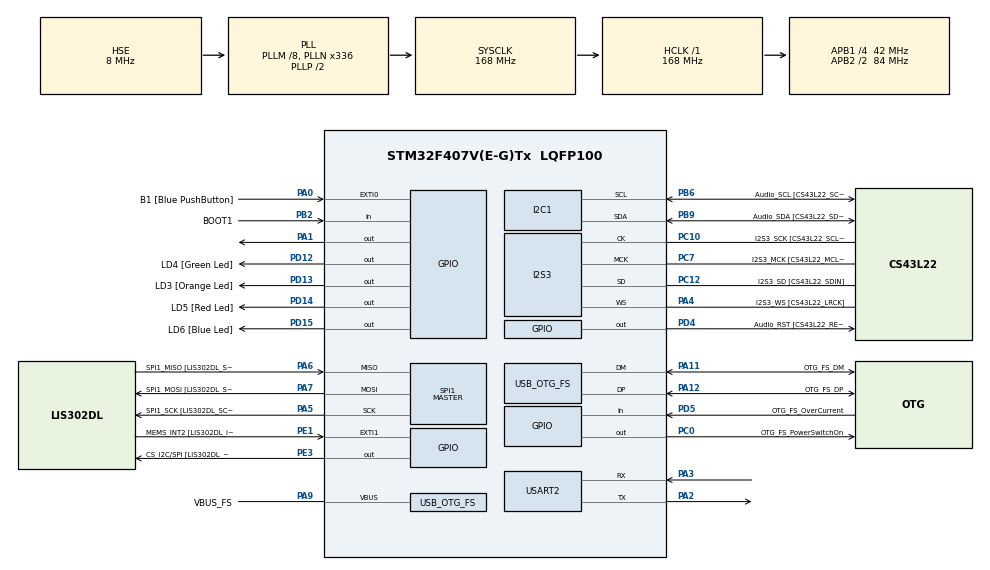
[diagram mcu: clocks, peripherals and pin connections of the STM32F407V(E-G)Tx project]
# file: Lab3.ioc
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I2S3.AudioFreq-Half_Duplex_Master=I2S_AUDIOFREQ_96K
I2S3.ErrorAudioFreq=-2.34 %
I2S3.ErrorAudioFreq-Half_Duplex_Master=0.8 %
I2S3.FullDuplexMode=I2S_FULLDUPLEXMODE_DISABLE
I2S3.Instance=SPI$Index
I2S3.RealAudioFreq=93.75 KHz
I2S3.RealAudioFreq-Half_Duplex_Master=96.774 KHz
I2S3.VirtualMode=I2S_MODE_MASTER
Mcu.Family=STM32F4
Mcu.Name=STM32F407V(E-G)Tx
Mcu.Package=LQFP100
NVIC.EXTI0_IRQn=true\:0\:0\:false\:true\:true\:1\:true
NVIC.OTG_FS_IRQn=true\:0\:0\:false\:false\:false\:true
NVIC.PriorityGroup=NVIC_PRIORITYGROUP_0
NVIC.TIM1_TRG_COM_TIM11_IRQn=true\:0\:0\:false\:true\:true\:3\:true
NVIC.TIM1_UP_TIM10_IRQn=true\:0\:0\:false\:true\:true\:2\:true
NVIC.TIM8_TRG_COM_TIM14_IRQn=true\:0\:0\:false\:true\:true\:5\:true
NVIC.TIM8_UP_TIM13_IRQn=true\:0\:0\:false\:true\:true\:4\:true
PA0-WKUP.GPIO_Label=B1 [Blue PushButton]
PA0-WKUP.GPIO_ModeDefaultEXTI=GPIO_MODE_IT_FALLING
PA0-WKUP.GPIO_PuPd=GPIO_NOPULL
PA0-WKUP.Signal=GPXTI0
PA1.Signal=GPIO_Output
PA10.GPIO_Label=OTG_FS_ID
PA10.GPIO_Mode=GPIO_MODE_AF_PP
PA10.GPIO_PuPd=GPIO_NOPULL
PA10.GPIO_Speed=GPIO_SPEED_FREQ_LOW
PA10.Signal=USB_OTG_FS_ID
PA11.GPIO_Label=OTG_FS_DM
PA11.GPIO_Mode=GPIO_MODE_AF_PP
PA11.GPIO_PuPd=GPIO_NOPULL
PA11.GPIO_Speed=GPIO_SPEED_FREQ_LOW
PA11.Mode=Host_Only
PA11.Signal=USB_OTG_FS_DM
PA12.GPIO_Label=OTG_FS_DP
PA12.GPIO_Mode=GPIO_MODE_AF_PP
PA12.GPIO_PuPd=GPIO_NOPULL
PA12.GPIO_Speed=GPIO_SPEED_FREQ_LOW
PA12.Mode=Host_Only
PA12.Signal=USB_OTG_FS_DP
PA13.GPIO_Label=SWDIO
PA13.Mode=Serial_Wire
PA13.Signal=SYS_JTMS-SWDIO
PA14.GPIO_Label=SWCLK
PA14.Mode=Serial_Wire
PA14.Signal=SYS_JTCK-SWCLK
PA2.Mode=Asynchronous
PA2.Signal=USART2_TX
PA3.Mode=Asynchronous
PA3.Signal=USART2_RX
PA4.GPIO_Label=I2S3_WS [CS43L22_LRCK]
PA4.GPIO_Mode=GPIO_MODE_AF_PP
PA4.GPIO_PuPd=GPIO_NOPULL
PA4.GPIO_Speed=GPIO_SPEED_FREQ_LOW
PA4.Mode=Half_Duplex_Master
PA4.Signal=I2S3_WS
PA5.GPIO_Label=SPI1_SCK [LIS302DL_SCL/SPC]
PA5.GPIO_Mode=GPIO_MODE_AF_PP
PA5.GPIO_PuPd=GPIO_NOPULL
PA5.GPIO_Speed=GPIO_SPEED_FREQ_LOW
PA5.Mode=Full_Duplex_Master
PA5.Signal=SPI1_SCK
PA6.GPIO_Label=SPI1_MISO [LIS302DL_SDO]
PA6.GPIO_Mode=GPIO_MODE_AF_PP
PA6.GPIO_PuPd=GPIO_NOPULL
PA6.GPIO_Speed=GPIO_SPEED_FREQ_LOW
PA6.Mode=Full_Duplex_Master
PA6.Signal=SPI1_MISO
PA7.GPIO_Label=SPI1_MOSI [LIS302DL_SDA/SDI/SDO]
PA7.GPIO_Mode=GPIO_MODE_AF_PP
PA7.GPIO_PuPd=GPIO_NOPULL
PA7.GPIO_Speed=GPIO_SPEED_FREQ_LOW
PA7.Mode=Full_Duplex_Master
PA7.Signal=SPI1_MOSI
PA9.GPIO_Label=VBUS_FS
PA9.GPIO_Mode=GPIO_MODE_INPUT
PA9.GPIO_PuPd=GPIO_NOPULL
PA9.Mode=Activate_VBUS
PA9.Signal=USB_OTG_FS_VBUS
PB10.GPIO_Label=CLK_IN [MP45DT02_CLK]
PB10.GPIO_Mode=GPIO_MODE_AF_PP
PB10.GPIO_PuPd=GPIO_NOPULL
PB10.GPIO_Speed=GPIO_SPEED_FREQ_LOW
PB10.Signal=I2S2_CK
PB2.GPIO_Label=BOOT1
PB2.GPIO_Mode=GPIO_MODE_INPUT
PB2.GPIO_PuPd=GPIO_NOPULL
PB2.Signal=GPIO_Input
PB3.GPIO_Label=SWO
PB3.Signal=SYS_JTDO-SWO
PB6.GPIO_Label=Audio_SCL [CS43L22_SCL]
PB6.GPIO_Mode=GPIO_MODE_AF_OD
PB6.GPIO_PuPd=GPIO_NOPULL
PB6.GPIO_Speed=GPIO_SPEED_FREQ_LOW
PB6.Mode=I2C
PB6.Signal=I2C1_SCL
PB9.GPIO_Label=Audio_SDA [CS43L22_SDA]
PB9.GPIO_Mode=GPIO_MODE_AF_OD
PB9.GPIO_PuPd=GPIO_NOPULL
PB9.GPIO_Speed=GPIO_SPEED_FREQ_LOW
PB9.Mode=I2C
PB9.Signal=I2C1_SDA
PC0.GPIO_Label=OTG_FS_PowerSwitchOn
PC0.GPIO_PuPd=GPIO_NOPULL
PC0.GPIO_Speed=GPIO_SPEED_FREQ_LOW
PC0.PinState=GPIO_PIN_SET
PC0.Signal=GPIO_Output
PC10.GPIO_Label=I2S3_SCK [CS43L22_SCLK]
PC10.GPIO_Mode=GPIO_MODE_AF_PP
PC10.GPIO_PuPd=GPIO_NOPULL
PC10.GPIO_Speed=GPIO_SPEED_FREQ_LOW
PC10.Mode=Half_Duplex_Master
PC10.Signal=I2S3_CK
PC12.GPIO_Label=I2S3_SD [CS43L22_SDIN]
PC12.GPIO_Mode=GPIO_MODE_AF_PP
PC12.GPIO_PuPd=GPIO_NOPULL
PC12.GPIO_Speed=GPIO_SPEED_FREQ_LOW
PC12.Mode=Half_Duplex_Master
PC12.Signal=I2S3_SD
PC14-OSC32_IN.GPIO_Label=PC14-OSC32_IN
PC14-OSC32_IN.Mode=LSE-External-Oscillator
PC14-OSC32_IN.Signal=RCC_OSC32_IN
PC15-OSC32_OUT.GPIO_Label=PC15-OSC32_OUT
PC15-OSC32_OUT.Mode=LSE-External-Oscillator
PC15-OSC32_OUT.Signal=RCC_OSC32_OUT
PC3.GPIO_Label=PDM_OUT [MP45DT02_DOUT]
PC3.GPIO_Mode=GPIO_MODE_AF_PP
PC3.GPIO_PuPd=GPIO_NOPULL
PC3.GPIO_Speed=GPIO_SPEED_FREQ_LOW
PC3.Signal=I2S2_SD
PC7.GPIO_Label=I2S3_MCK [CS43L22_MCLK]
PC7.GPIO_Mode=GPIO_MODE_AF_PP
PC7.GPIO_PuPd=GPIO_NOPULL
PC7.GPIO_Speed=GPIO_SPEED_FREQ_LOW
PC7.Mode=Master_Clock_Activated
PC7.Signal=I2S3_MCK
PD12.GPIO_Label=LD4 [Green Led]
PD12.GPIO_PuPd=GPIO_NOPULL
PD12.GPIO_Speed=GPIO_SPEED_FREQ_LOW
PD12.Signal=GPIO_Output
PD13.GPIO_Label=LD3 [Orange Led]
PD13.GPIO_PuPd=GPIO_NOPULL
PD13.GPIO_Speed=GPIO_SPEED_FREQ_LOW
PD13.Signal=GPIO_Output
PD14.GPIO_Label=LD5 [Red Led]
PD14.GPIO_PuPd=GPIO_NOPULL
PD14.GPIO_Speed=GPIO_SPEED_FREQ_LOW
PD14.Signal=GPIO_Output
PD15.GPIO_Label=LD6 [Blue Led]
PD15.GPIO_PuPd=GPIO_NOPULL
PD15.GPIO_Speed=GPIO_SPEED_FREQ_LOW
PD15.Signal=GPIO_Output
PD4.GPIO_Label=Audio_RST [CS43L22_RESET]
PD4.GPIO_PuPd=GPIO_NOPULL
PD4.GPIO_Speed=GPIO_SPEED_FREQ_LOW
PD4.Signal=GPIO_Output
PD5.GPIO_Label=OTG_FS_OverCurrent
PD5.GPIO_Mode=GPIO_MODE_INPUT
PD5.GPIO_PuPd=GPIO_NOPULL
PD5.Signal=GPIO_Input
PE1.GPIO_Label=MEMS_INT2 [LIS302DL_INT2]
PE1.GPIO_ModeDefaultEXTI=GPIO_MODE_EVT_RISING
PE1.GPIO_PuPd=GPIO_NOPULL
PE1.Signal=GPXTI1
PE3.GPIO_Label=CS_I2C/SPI [LIS302DL_CS_I2C/SPI]
PE3.GPIO_PuPd=GPIO_NOPULL
PE3.GPIO_Speed=GPIO_SPEED_FREQ_LOW
PE3.Signal=GPIO_Output
PH0-OSC_IN.GPIO_Label=PH0-OSC_IN
PH0-OSC_IN.Mode=HSE-External-Oscillator
PH0-OSC_IN.Signal=RCC_OSC_IN
PH1-OSC_OUT.GPIO_Label=PH1-OSC_OUT
PH1-OSC_OUT.Mode=HSE-External-Oscillator
PH1-OSC_OUT.Signal=RCC_OSC_OUT
ProjectManager.HeapSize=0x200
ProjectManager.StackSize=0x400
ProjectManager.TargetToolchain=MDK-ARM V5
RCC.48MHZClocksFreq_Value=48000000
RCC.AHBFreq_Value=168000000
RCC.APB1CLKDivider=RCC_HCLK_DIV4
RCC.APB1Freq_Value=42000000
RCC.APB1TimFreq_Value=84000000
RCC.APB2CLKDivider=RCC_HCLK_DIV2
RCC.APB2Freq_Value=84000000
RCC.APB2TimFreq_Value=168000000
RCC.CortexFreq_Value=168000000
RCC.HCLKFreq_Value=168000000
RCC.HSE_VALUE=8000000
RCC.HSI_VALUE=16000000
RCC.PLLM=8
RCC.PLLN=336
RCC.PLLQ=7
RCC.SYSCLKFreq_VALUE=168000000
RCC.SYSCLKSource=RCC_SYSCLKSOURCE_PLLCLK
RCC.VCOOutputFreq_Value=336000000
SPI1.BaudRatePrescaler-Full_Duplex_Master=SPI_BAUDRATEPRESCALER_2
SPI1.CalculateBaudRate-Full_Duplex_Master=42.0 MBits/s
SPI1.Direction=SPI_DIRECTION_2LINES
SPI1.Mode=SPI_MODE_MASTER
SPI1.Mode-Full_Duplex_Master=SPI_MODE_MASTER
SPI1.VirtualType=VM_MASTER
TIM10.Period=2500
TIM10.Prescaler=16799
TIM11.Period=9810
TIM11.Prescaler=4199
TIM13.Period=50
TIM13.Prescaler=83
TIM14.Period=9999
TIM14.Prescaler=8399
USART2.VirtualMode=VM_ASYNC
USB_HOST.BSP.number=1
USB_HOST.USBH_HandleTypeDef-CDC_FS=hUsbHostFS
USB_HOST.VirtualModeFS=Cdc
USB_HOST0.BSP.STBoard=false
USB_HOST0.BSP.api=Unknown
USB_HOST0.BSP.i2caddr=0
USB_HOST0.BSP.i2creg=0
USB_HOST0.BSP.instance=PC0
USB_HOST0.BSP.ip=GPIO
USB_HOST0.BSP.mode=Output
USB_HOST0.BSP.name=Drive_VBUS_FS
USB_HOST0.BSP.solution=PC0
USB_OTG_FS.VirtualMode=Host_Only
USB_OTG_FS.phy_itface=HCD_PHY_EMBEDDED
VP_TIM10_VS_ClockSourceINT.Mode=Enable_Timer
VP_TIM11_VS_ClockSourceINT.Mode=Enable_Timer
VP_TIM13_VS_ClockSourceINT.Mode=Enable_Timer
VP_TIM14_VS_ClockSourceINT.Mode=Enable_Timer
VP_USB_HOST_VS_USB_HOST_CDC_FS.Mode=CDC_FS
board=STM32F4DISCOVERY

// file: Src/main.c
/**
  ******************************************************************************
  * @file           : main.c
  * @brief          : Main program body
  ******************************************************************************
  * This notice applies to any and all portions of this file
  * that are not between comment pairs USER CODE BEGIN and
  * USER CODE END. Other portions of this file, whether
  * inserted by the user or by software development tools
  * are owned by their respective copyright owners.
  *
  * Copyright (c) 2018 STMicroelectronics International N.V.
  * All rights reserved.
  *
  * Redistribution and use in source and binary forms, with or without
  * modification, are permitted, provided that the following conditions are met:
  *
  * 1. Redistribution of source code must retain the above copyright notice,
  *    this list of conditions and the following disclaimer.
  * 2. Redistributions in binary form must reproduce the above copyright notice,
  *    this list of conditions and the following disclaimer in the documentation
  *    and/or other materials provided with the distribution.
  * 3. Neither the name of STMicroelectronics nor the names of other
  *    contributors to this software may be used to endorse or promote products
  *    derived from this software without specific written permission.
  * 4. This software, including modifications and/or derivative works of this
  *    software, must execute solely and exclusively on microcontroller or
  *    microprocessor devices manufactured by or for STMicroelectronics.
  * 5. Redistribution and use of this software other than as permitted under
  *    this license is void and will automatically terminate your rights under
  *    this license.
  *
  * THIS SOFTWARE IS PROVIDED BY STMICROELECTRONICS AND CONTRIBUTORS "AS IS"
  * AND ANY EXPRESS, IMPLIED OR STATUTORY WARRANTIES, INCLUDING, BUT NOT
  * LIMITED TO, THE IMPLIED WARRANTIES OF MERCHANTABILITY, FITNESS FOR A
  * PARTICULAR PURPOSE AND NON-INFRINGEMENT OF THIRD PARTY INTELLECTUAL PROPERTY
  * RIGHTS ARE DISCLAIMED TO THE FULLEST EXTENT PERMITTED BY LAW. IN NO EVENT
  * SHALL STMICROELECTRONICS OR CONTRIBUTORS BE LIABLE FOR ANY DIRECT, INDIRECT,
  * INCIDENTAL, SPECIAL, EXEMPLARY, OR CONSEQUENTIAL DAMAGES (INCLUDING, BUT NOT
  * LIMITED TO, PROCUREMENT OF SUBSTITUTE GOODS OR SERVICES; LOSS OF USE, DATA,
  * OR PROFITS; OR BUSINESS INTERRUPTION) HOWEVER CAUSED AND ON ANY THEORY OF
  * LIABILITY, WHETHER IN CONTRACT, STRICT LIABILITY, OR TORT (INCLUDING
  * NEGLIGENCE OR OTHERWISE) ARISING IN ANY WAY OUT OF THE USE OF THIS SOFTWARE,
  * EVEN IF ADVISED OF THE POSSIBILITY OF SUCH DAMAGE.
  *
  ******************************************************************************
  */
#include "main.h"
#include "stm32f4xx_hal.h"
#include "usb_host.h"

/* USER CODE BEGIN Includes */
#define SECTION 3
/* USER CODE END Includes */

I2C_HandleTypeDef hi2c1;

I2S_HandleTypeDef hi2s3;

SPI_HandleTypeDef hspi1;

TIM_HandleTypeDef htim10;
TIM_HandleTypeDef htim11;
TIM_HandleTypeDef htim13;
TIM_HandleTypeDef htim14;

UART_HandleTypeDef huart2;

/* USER CODE BEGIN PV */
/* Private variables ---------------------------------------------------------*/

/* USER CODE END PV */

void SystemClock_Config(void);
static void MX_GPIO_Init(void);
static void MX_I2C1_Init(void);
static void MX_I2S3_Init(void);
static void MX_SPI1_Init(void);
static void MX_TIM14_Init(void);
static void MX_TIM11_Init(void);
static void MX_TIM10_Init(void);
static void MX_USART2_UART_Init(void);
static void MX_TIM13_Init(void);
static void MX_NVIC_Init(void);
void MX_USB_HOST_Process(void);

/* USER CODE BEGIN PFP */
/* Private function prototypes -----------------------------------------------*/

/* USER CODE END PFP */

/* USER CODE BEGIN 0 */
#if SECTION == 1
uint8_t led_state, led_it;
void HAL_GPIO_EXTI_Callback(uint16_t GPIO_Pin)
{
	if (GPIO_Pin == GPIO_PIN_0)
	{
		if (!led_it)
		{
			led_it = 1;
			led_state = (led_state + 1) % 3;
		}
	}
}
#elif SECTION == 3
uint32_t led_count_red, led_count_green;
char text[128];
#endif
void HAL_TIM_PeriodElapsedCallback(TIM_HandleTypeDef *htim)
{
	#if SECTION == 2
	if (htim->Instance == TIM13)
	{
		//HAL_GPIO_TogglePin(GPIOD, 1 << 13);
		HAL_GPIO_TogglePin(GPIOA, 1 << 1);
	}
	#elif SECTION == 3
	if (htim->Instance == TIM10)
	{
		HAL_GPIO_TogglePin(GPIOD, 1 << 14);
		if (HAL_GPIO_ReadPin(GPIOD, 1<< 14) == GPIO_PIN_SET)
			led_count_red += 1;
	}
	else if (htim->Instance == TIM11)
	{
		HAL_GPIO_TogglePin(GPIOD, 1 << 12);
		if (HAL_GPIO_ReadPin(GPIOD, 1<< 12) == GPIO_PIN_SET)
			led_count_green += 1;
	}
	else if (htim->Instance == TIM14)
	{
		sprintf(text, "Red: %d, Green: %d\n\r", led_count_red, led_count_green);
		HAL_UART_Transmit(&huart2, (uint8_t*)text, sizeof(text), 1000);
	}
	#endif
}
/* USER CODE END 0 */

int main(void)
{

  /* MCU Configuration----------------------------------------------------------*/

  /* Reset of all peripherals, Initializes the Flash interface and the Systick. */
  HAL_Init();

  /* Configure the system clock */
  SystemClock_Config();

  /* Initialize all configured peripherals */
  MX_GPIO_Init();
  MX_I2C1_Init();
  MX_I2S3_Init();
  MX_SPI1_Init();
  MX_USB_HOST_Init();
  MX_TIM14_Init();
  MX_TIM11_Init();
  MX_TIM10_Init();
  MX_USART2_UART_Init();
  MX_TIM13_Init();

  /* Initialize interrupts */
  MX_NVIC_Init();
  /* USER CODE BEGIN 2 */
	#if SECTION == 1
	uint32_t time_prev = HAL_GetTick();
	uint16_t time_delay[] = {200, 1000, 5000};
	#endif

	HAL_TIM_Base_Start_IT(&htim10);
	HAL_TIM_Base_Start_IT(&htim11);
	HAL_TIM_Base_Start_IT(&htim13);
	HAL_TIM_Base_Start_IT(&htim14);
  /* USER CODE END 2 */

  /* Infinite loop */
  /* USER CODE BEGIN WHILE */
  while (1)
  {
		#if SECTION == 1
		led_it = 0;
		if ((HAL_GetTick() - time_prev) >= time_delay[led_state])
		{
			HAL_GPIO_TogglePin(GPIOD, 1 << 14);
		}
		#endif
  /* USER CODE END WHILE */
    MX_USB_HOST_Process();

  }

}

void SystemClock_Config(void)
{

  RCC_OscInitTypeDef RCC_OscInitStruct;
  RCC_ClkInitTypeDef RCC_ClkInitStruct;
  RCC_PeriphCLKInitTypeDef PeriphClkInitStruct;

    /**Configure the main internal regulator output voltage
    */
  __HAL_RCC_PWR_CLK_ENABLE();

  __HAL_PWR_VOLTAGESCALING_CONFIG(PWR_REGULATOR_VOLTAGE_SCALE1);

    /**Initializes the CPU, AHB and APB busses clocks
    */
  RCC_OscInitStruct.OscillatorType = RCC_OSCILLATORTYPE_HSE;
  RCC_OscInitStruct.HSEState = RCC_HSE_ON;
  RCC_OscInitStruct.PLL.PLLState = RCC_PLL_ON;
  RCC_OscInitStruct.PLL.PLLSource = RCC_PLLSOURCE_HSE;
  RCC_OscInitStruct.PLL.PLLM = 8;
  RCC_OscInitStruct.PLL.PLLN = 336;
  RCC_OscInitStruct.PLL.PLLP = RCC_PLLP_DIV2;
  RCC_OscInitStruct.PLL.PLLQ = 7;
  if (HAL_RCC_OscConfig(&RCC_OscInitStruct) != HAL_OK)
  {
    _Error_Handler(__FILE__, __LINE__);
  }

    /**Initializes the CPU, AHB and APB busses clocks
    */
  RCC_ClkInitStruct.ClockType = RCC_CLOCKTYPE_HCLK|RCC_CLOCKTYPE_SYSCLK
                              |RCC_CLOCKTYPE_PCLK1|RCC_CLOCKTYPE_PCLK2;
  RCC_ClkInitStruct.SYSCLKSource = RCC_SYSCLKSOURCE_PLLCLK;
  RCC_ClkInitStruct.AHBCLKDivider = RCC_SYSCLK_DIV1;
  RCC_ClkInitStruct.APB1CLKDivider = RCC_HCLK_DIV4;
  RCC_ClkInitStruct.APB2CLKDivider = RCC_HCLK_DIV2;

  if (HAL_RCC_ClockConfig(&RCC_ClkInitStruct, FLASH_LATENCY_5) != HAL_OK)
  {
    _Error_Handler(__FILE__, __LINE__);
  }

  PeriphClkInitStruct.PeriphClockSelection = RCC_PERIPHCLK_I2S;
  PeriphClkInitStruct.PLLI2S.PLLI2SN = 192;
  PeriphClkInitStruct.PLLI2S.PLLI2SR = 2;
  if (HAL_RCCEx_PeriphCLKConfig(&PeriphClkInitStruct) != HAL_OK)
  {
    _Error_Handler(__FILE__, __LINE__);
  }

    /**Configure the Systick interrupt time
    */
  HAL_SYSTICK_Config(HAL_RCC_GetHCLKFreq()/1000);

    /**Configure the Systick
    */
  HAL_SYSTICK_CLKSourceConfig(SYSTICK_CLKSOURCE_HCLK);

  /* SysTick_IRQn interrupt configuration */
  HAL_NVIC_SetPriority(SysTick_IRQn, 0, 0);
}

/**
  * @brief NVIC Configuration.
  * @retval None
  */
static void MX_NVIC_Init(void)
{
  /* EXTI0_IRQn interrupt configuration */
  HAL_NVIC_SetPriority(EXTI0_IRQn, 0, 0);
  HAL_NVIC_EnableIRQ(EXTI0_IRQn);
  /* TIM1_UP_TIM10_IRQn interrupt configuration */
  HAL_NVIC_SetPriority(TIM1_UP_TIM10_IRQn, 0, 0);
  HAL_NVIC_EnableIRQ(TIM1_UP_TIM10_IRQn);
  /* TIM1_TRG_COM_TIM11_IRQn interrupt configuration */
  HAL_NVIC_SetPriority(TIM1_TRG_COM_TIM11_IRQn, 0, 0);
  HAL_NVIC_EnableIRQ(TIM1_TRG_COM_TIM11_IRQn);
  /* TIM8_UP_TIM13_IRQn interrupt configuration */
  HAL_NVIC_SetPriority(TIM8_UP_TIM13_IRQn, 0, 0);
  HAL_NVIC_EnableIRQ(TIM8_UP_TIM13_IRQn);
  /* TIM8_TRG_COM_TIM14_IRQn interrupt configuration */
  HAL_NVIC_SetPriority(TIM8_TRG_COM_TIM14_IRQn, 0, 0);
  HAL_NVIC_EnableIRQ(TIM8_TRG_COM_TIM14_IRQn);
}

/* I2C1 init function */
static void MX_I2C1_Init(void)
{

  hi2c1.Instance = I2C1;
  hi2c1.Init.ClockSpeed = 100000;
  hi2c1.Init.DutyCycle = I2C_DUTYCYCLE_2;
  hi2c1.Init.OwnAddress1 = 0;
  hi2c1.Init.AddressingMode = I2C_ADDRESSINGMODE_7BIT;
  hi2c1.Init.DualAddressMode = I2C_DUALADDRESS_DISABLE;
  hi2c1.Init.OwnAddress2 = 0;
  hi2c1.Init.GeneralCallMode = I2C_GENERALCALL_DISABLE;
  hi2c1.Init.NoStretchMode = I2C_NOSTRETCH_DISABLE;
  if (HAL_I2C_Init(&hi2c1) != HAL_OK)
  {
    _Error_Handler(__FILE__, __LINE__);
  }

}

/* I2S3 init function */
static void MX_I2S3_Init(void)
{

  hi2s3.Instance = SPI3;
  hi2s3.Init.Mode = I2S_MODE_MASTER_TX;
  hi2s3.Init.Standard = I2S_STANDARD_PHILIPS;
  hi2s3.Init.DataFormat = I2S_DATAFORMAT_16B;
  hi2s3.Init.MCLKOutput = I2S_MCLKOUTPUT_ENABLE;
  hi2s3.Init.AudioFreq = I2S_AUDIOFREQ_96K;
  hi2s3.Init.CPOL = I2S_CPOL_LOW;
  hi2s3.Init.ClockSource = I2S_CLOCK_PLL;
  hi2s3.Init.FullDuplexMode = I2S_FULLDUPLEXMODE_DISABLE;
  if (HAL_I2S_Init(&hi2s3) != HAL_OK)
  {
    _Error_Handler(__FILE__, __LINE__);
  }

}

/* SPI1 init function */
static void MX_SPI1_Init(void)
{

  /* SPI1 parameter configuration*/
  hspi1.Instance = SPI1;
  hspi1.Init.Mode = SPI_MODE_MASTER;
  hspi1.Init.Direction = SPI_DIRECTION_2LINES;
  hspi1.Init.DataSize = SPI_DATASIZE_8BIT;
  hspi1.Init.CLKPolarity = SPI_POLARITY_LOW;
  hspi1.Init.CLKPhase = SPI_PHASE_1EDGE;
  hspi1.Init.NSS = SPI_NSS_SOFT;
  hspi1.Init.BaudRatePrescaler = SPI_BAUDRATEPRESCALER_2;
  hspi1.Init.FirstBit = SPI_FIRSTBIT_MSB;
  hspi1.Init.TIMode = SPI_TIMODE_DISABLE;
  hspi1.Init.CRCCalculation = SPI_CRCCALCULATION_DISABLE;
  hspi1.Init.CRCPolynomial = 10;
  if (HAL_SPI_Init(&hspi1) != HAL_OK)
  {
    _Error_Handler(__FILE__, __LINE__);
  }

}

/* TIM10 init function */
static void MX_TIM10_Init(void)
{

  htim10.Instance = TIM10;
  htim10.Init.Prescaler = 16799;
  htim10.Init.CounterMode = TIM_COUNTERMODE_UP;
  htim10.Init.Period = 2500;
  htim10.Init.ClockDivision = TIM_CLOCKDIVISION_DIV1;
  if (HAL_TIM_Base_Init(&htim10) != HAL_OK)
  {
    _Error_Handler(__FILE__, __LINE__);
  }

}

/* TIM11 init function */
static void MX_TIM11_Init(void)
{

  htim11.Instance = TIM11;
  htim11.Init.Prescaler = 4199;
  htim11.Init.CounterMode = TIM_COUNTERMODE_UP;
  htim11.Init.Period = 9810;
  htim11.Init.ClockDivision = TIM_CLOCKDIVISION_DIV1;
  if (HAL_TIM_Base_Init(&htim11) != HAL_OK)
  {
    _Error_Handler(__FILE__, __LINE__);
  }

}

/* TIM13 init function */
static void MX_TIM13_Init(void)
{

  htim13.Instance = TIM13;
  htim13.Init.Prescaler = 83;
  htim13.Init.CounterMode = TIM_COUNTERMODE_UP;
  htim13.Init.Period = 50;
  htim13.Init.ClockDivision = TIM_CLOCKDIVISION_DIV1;
  if (HAL_TIM_Base_Init(&htim13) != HAL_OK)
  {
    _Error_Handler(__FILE__, __LINE__);
  }

}

/* TIM14 init function */
static void MX_TIM14_Init(void)
{

  htim14.Instance = TIM14;
  htim14.Init.Prescaler = 8399;
  htim14.Init.CounterMode = TIM_COUNTERMODE_UP;
  htim14.Init.Period = 9999;
  htim14.Init.ClockDivision = TIM_CLOCKDIVISION_DIV1;
  if (HAL_TIM_Base_Init(&htim14) != HAL_OK)
  {
    _Error_Handler(__FILE__, __LINE__);
  }

}

/* USART2 init function */
static void MX_USART2_UART_Init(void)
{

  huart2.Instance = USART2;
  huart2.Init.BaudRate = 115200;
  huart2.Init.WordLength = UART_WORDLENGTH_8B;
  huart2.Init.StopBits = UART_STOPBITS_1;
  huart2.Init.Parity = UART_PARITY_NONE;
  huart2.Init.Mode = UART_MODE_TX_RX;
  huart2.Init.HwFlowCtl = UART_HWCONTROL_NONE;
  huart2.Init.OverSampling = UART_OVERSAMPLING_16;
  if (HAL_UART_Init(&huart2) != HAL_OK)
  {
    _Error_Handler(__FILE__, __LINE__);
  }

}

/** Configure pins as
        * Analog
        * Input
        * Output
        * EVENT_OUT
        * EXTI
     PC3   ------> I2S2_SD
     PB10   ------> I2S2_CK
*/
static void MX_GPIO_Init(void)
{

  GPIO_InitTypeDef GPIO_InitStruct;

  /* GPIO Ports Clock Enable */
  __HAL_RCC_GPIOE_CLK_ENABLE();
  __HAL_RCC_GPIOC_CLK_ENABLE();
  __HAL_RCC_GPIOH_CLK_ENABLE();
  __HAL_RCC_GPIOA_CLK_ENABLE();
  __HAL_RCC_GPIOB_CLK_ENABLE();
  __HAL_RCC_GPIOD_CLK_ENABLE();

  /*Configure GPIO pin Output Level */
  HAL_GPIO_WritePin(CS_I2C_SPI_GPIO_Port, CS_I2C_SPI_Pin, GPIO_PIN_RESET);

  /*Configure GPIO pin Output Level */
  HAL_GPIO_WritePin(OTG_FS_PowerSwitchOn_GPIO_Port, OTG_FS_PowerSwitchOn_Pin, GPIO_PIN_SET);

  /*Configure GPIO pin Output Level */
  HAL_GPIO_WritePin(GPIOA, GPIO_PIN_1, GPIO_PIN_RESET);

  /*Configure GPIO pin Output Level */
  HAL_GPIO_WritePin(GPIOD, LD4_Pin|LD3_Pin|LD5_Pin|LD6_Pin
                          |Audio_RST_Pin, GPIO_PIN_RESET);

  /*Configure GPIO pin : CS_I2C_SPI_Pin */
  GPIO_InitStruct.Pin = CS_I2C_SPI_Pin;
  GPIO_InitStruct.Mode = GPIO_MODE_OUTPUT_PP;
  GPIO_InitStruct.Pull = GPIO_NOPULL;
  GPIO_InitStruct.Speed = GPIO_SPEED_FREQ_LOW;
  HAL_GPIO_Init(CS_I2C_SPI_GPIO_Port, &GPIO_InitStruct);

  /*Configure GPIO pin : OTG_FS_PowerSwitchOn_Pin */
  GPIO_InitStruct.Pin = OTG_FS_PowerSwitchOn_Pin;
  GPIO_InitStruct.Mode = GPIO_MODE_OUTPUT_PP;
  GPIO_InitStruct.Pull = GPIO_NOPULL;
  GPIO_InitStruct.Speed = GPIO_SPEED_FREQ_LOW;
  HAL_GPIO_Init(OTG_FS_PowerSwitchOn_GPIO_Port, &GPIO_InitStruct);

  /*Configure GPIO pin : PDM_OUT_Pin */
  GPIO_InitStruct.Pin = PDM_OUT_Pin;
  GPIO_InitStruct.Mode = GPIO_MODE_AF_PP;
  GPIO_InitStruct.Pull = GPIO_NOPULL;
  GPIO_InitStruct.Speed = GPIO_SPEED_FREQ_LOW;
  GPIO_InitStruct.Alternate = GPIO_AF5_SPI2;
  HAL_GPIO_Init(PDM_OUT_GPIO_Port, &GPIO_InitStruct);

  /*Configure GPIO pin : B1_Pin */
  GPIO_InitStruct.Pin = B1_Pin;
  GPIO_InitStruct.Mode = GPIO_MODE_IT_FALLING;
  GPIO_InitStruct.Pull = GPIO_NOPULL;
  HAL_GPIO_Init(B1_GPIO_Port, &GPIO_InitStruct);

  /*Configure GPIO pin : PA1 */
  GPIO_InitStruct.Pin = GPIO_PIN_1;
  GPIO_InitStruct.Mode = GPIO_MODE_OUTPUT_PP;
  GPIO_InitStruct.Pull = GPIO_NOPULL;
  GPIO_InitStruct.Speed = GPIO_SPEED_FREQ_LOW;
  HAL_GPIO_Init(GPIOA, &GPIO_InitStruct);

  /*Configure GPIO pin : BOOT1_Pin */
  GPIO_InitStruct.Pin = BOOT1_Pin;
  GPIO_InitStruct.Mode = GPIO_MODE_INPUT;
  GPIO_InitStruct.Pull = GPIO_NOPULL;
  HAL_GPIO_Init(BOOT1_GPIO_Port, &GPIO_InitStruct);

  /*Configure GPIO pin : CLK_IN_Pin */
  GPIO_InitStruct.Pin = CLK_IN_Pin;
  GPIO_InitStruct.Mode = GPIO_MODE_AF_PP;
  GPIO_InitStruct.Pull = GPIO_NOPULL;
  GPIO_InitStruct.Speed = GPIO_SPEED_FREQ_LOW;
  GPIO_InitStruct.Alternate = GPIO_AF5_SPI2;
  HAL_GPIO_Init(CLK_IN_GPIO_Port, &GPIO_InitStruct);

  /*Configure GPIO pins : LD4_Pin LD3_Pin LD5_Pin LD6_Pin
                           Audio_RST_Pin */
  GPIO_InitStruct.Pin = LD4_Pin|LD3_Pin|LD5_Pin|LD6_Pin
                          |Audio_RST_Pin;
  GPIO_InitStruct.Mode = GPIO_MODE_OUTPUT_PP;
  GPIO_InitStruct.Pull = GPIO_NOPULL;
  GPIO_InitStruct.Speed = GPIO_SPEED_FREQ_LOW;
  HAL_GPIO_Init(GPIOD, &GPIO_InitStruct);

  /*Configure GPIO pin : OTG_FS_OverCurrent_Pin */
  GPIO_InitStruct.Pin = OTG_FS_OverCurrent_Pin;
  GPIO_InitStruct.Mode = GPIO_MODE_INPUT;
  GPIO_InitStruct.Pull = GPIO_NOPULL;
  HAL_GPIO_Init(OTG_FS_OverCurrent_GPIO_Port, &GPIO_InitStruct);

  /*Configure GPIO pin : MEMS_INT2_Pin */
  GPIO_InitStruct.Pin = MEMS_INT2_Pin;
  GPIO_InitStruct.Mode = GPIO_MODE_EVT_RISING;
  GPIO_InitStruct.Pull = GPIO_NOPULL;
  HAL_GPIO_Init(MEMS_INT2_GPIO_Port, &GPIO_InitStruct);

}

void _Error_Handler(char *file, int line)
{
  while(1)
  {
  }
}

/************************ (C) COPYRIGHT STMicroelectronics *****END OF FILE****/
